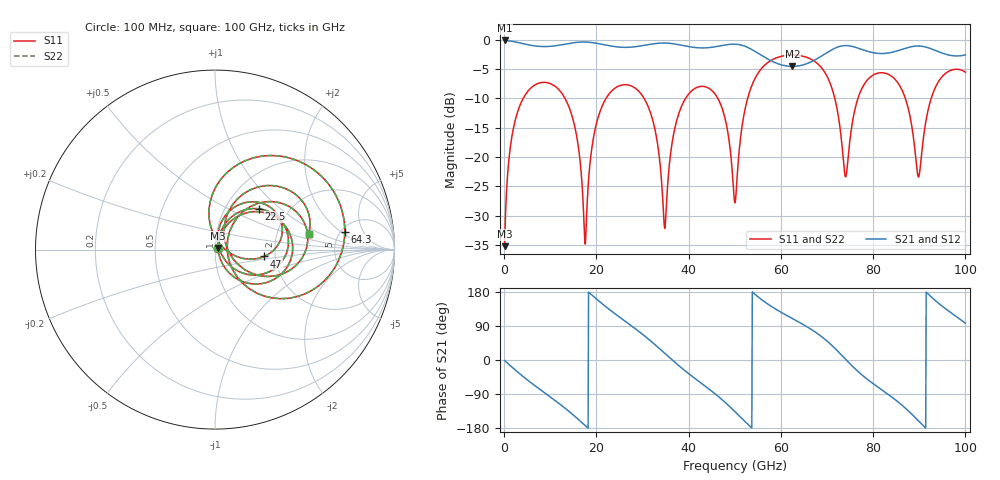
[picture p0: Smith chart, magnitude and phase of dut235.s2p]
! Touchstone file exported from HFSS 2026.1.0
!  File:  C:/ffzhzh/LocalFiles/Ansys_Project_Files/temp_train_TSV_RDL_235_1783665870_29156.aedt
!  Generated:  02:53:57 PM Jul 10, 2026
!  Design:  TSV_RDL
!  Project:  temp_train_TSV_RDL_235_1783665870_29156
! Variables:
!  h_bsmrdl = 4.05um
!  h_ox = 20um
!  h_rdl = 5um
!  h_sub = 94.71um
!  h_tmrdl = 3.97um
!  h_tsv = 94.71um
!  h_via = 3um
!  l_bsmrdl = 529.77um
!  l_sub = 3107.94um
!  l_tmrdl = 247.73um
!  m_sub = 200um
!  pitch = 42.19um
!  r_tsv = 5.39um
!  s_tmrdl = 10um
!  w_bsmrdl = 25.92um
!  w_sub = 500um
!  w_tmrdl = 16.65um
!  x_tsv_center1 = 256.055um
!  x_tsv_center2 = 811.745um
!  x_tsv_center3 = 1076.125um
!  x_tsv_center4 = 1631.815um
!  x_tsv_center5 = 1896.195um
!  x_tsv_center6 = 2451.885um
# GHz S MA R 50.000000
! Terminal data exported
! Port[1] = TM_RDL1_1_T1
! Port[2] = TM_RDL5_1_T1
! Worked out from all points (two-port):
!   1000 points, 100 MHz to 100 GHz, reference 50 ohm
!   highest |S21| = -0.12 dB at 100 MHz (marker M1); lowest = -4.6 dB at 62.5 GHz (marker M2)
!   |S21| within 3 dB of the highest: start of sweep to 56.77 GHz; 68.1 GHz to end of sweep
!   lowest |S11| = -35.2 dB at 100 MHz (marker M3), VSWR 1.04, Z = 51.4 + j1.01 ohm
!   |S11| at or under -10 dB: 13.19 GHz to 22.1 GHz (8.912 GHz wide, 50.5 % of centre); 30.34 GHz to 39.34 GHz (9.007 GHz wide, 25.9 % of centre); 46.31 GHz to 52.79 GHz (6.479 GHz wide, 13.1 % of centre) (the widest 3 of 6)
!   |S22| runs from -35.2 to -2.6 dB; largest |S21 - S12| = 7e-12
!   S11 on the Smith chart (normalised r, x): 100 MHz: 1.03, +0.02; 22.5 GHz: 1.43, +0.73; 47 GHz: 1.75, -0.14; 64.3 GHz: 5.41, +2.28; 100 GHz: 3.04, +0.74
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0.1  0.01733 34.5  0.9859 -1.2  0.9859 -1.2  0.01733 34.5
! Gamma 0 0 0 0
! Port Impedance 50 0 50 0
2.1  0.1827 60.7  0.9636 -23.2  0.9636 -23.2  0.1827 60.7
6.7  0.4119 19.0  0.8854 -67.9  0.8854 -67.9  0.4119 19.0
13.5  0.2994 -39.8  0.9209 -130.0  0.9209 -130.0  0.2994 -39.8
16.8  0.06555 -61.1  0.956 -164.5  0.956 -164.5  0.06556 -61.2
17.7  0.02117 36.8  0.9558 -174.3  0.9558 -174.3  0.02103 36.9
22.5  0.3343 42.8  0.8932 136.3  0.8932 136.3  0.3343 42.8
33.4  0.1184 -47.0  0.9331 33.0  0.9331 33.0  0.1186 -46.5
34.8  0.02454 12.9  0.9372 17.8  0.9372 17.8  0.02561 13.2
39  0.2996 59.3  0.8887 -26.3  0.8887 -26.3  0.2998 59.1
47  0.2766 -7.9  0.8893 -102.0  0.8893 -102.0  0.2768 -8.1
50.1  0.04111 50.4  0.9167 -137.0  0.9167 -137.0  0.04042 50.2
53.9  0.425 82.1  0.8165 178.5  0.8165 178.5  0.4248 82.1
62.5  0.7404 18.9  0.5921 109.3  0.5921 109.3  0.7403 19.0
64.3  0.7298 7.8  0.603 97.3  0.603 97.3  0.7298 7.8
66.7  0.677 -8.1  0.6516 79.8  0.6516 79.8  0.677 -8.0
74  0.0677 -0.5  0.8912 2.2  0.8912 2.2  0.06941 -0.4
77.4  0.3721 45.1  0.83 -37.6  0.83 -37.6  0.3724 44.8
83.4  0.5047 -0.7  0.772 -92.0  0.772 -92.0  0.5048 -0.8
89.8  0.06739 15.4  0.8843 -160.2  0.8843 -160.2  0.06576 15.2
93.5  0.393 58.7  0.8099 156.7  0.8099 156.7  0.3927 58.9
100  0.5287 9.5  0.7427 97.1  0.7427 97.1  0.5287 9.7
